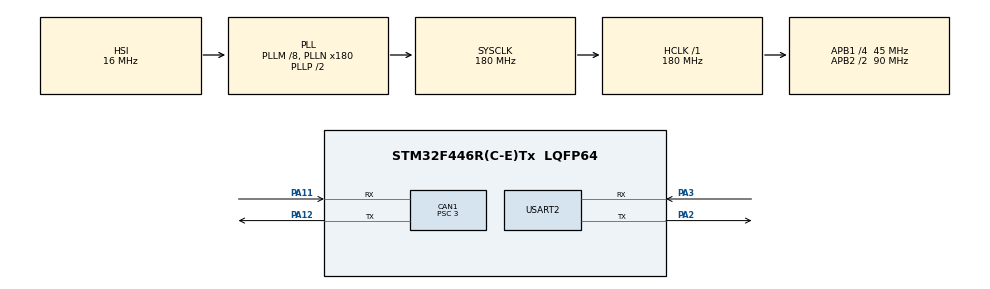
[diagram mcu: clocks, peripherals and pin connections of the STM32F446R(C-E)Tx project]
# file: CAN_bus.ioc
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CAN1.BS1=CAN_BS1_12TQ
CAN1.BS2=CAN_BS2_2TQ
CAN1.CalculateBaudRate=1000000
CAN1.CalculateTimeBit=1000
CAN1.CalculateTimeQuantum=66.66666666666666
CAN1.Mode=CAN_MODE_LOOPBACK
CAN1.Prescaler=3
Mcu.Family=STM32F4
Mcu.Name=STM32F446R(C-E)Tx
Mcu.Package=LQFP64
NVIC.CAN1_RX0_IRQn=true\:0\:0\:false\:false\:true\:true\:true\:true
NVIC.CAN1_RX1_IRQn=true\:0\:0\:false\:false\:true\:true\:true\:true
NVIC.CAN1_SCE_IRQn=true\:0\:0\:false\:false\:true\:true\:true\:true
NVIC.CAN1_TX_IRQn=true\:0\:0\:false\:false\:true\:true\:true\:true
NVIC.PriorityGroup=NVIC_PRIORITYGROUP_0
PA11.GPIO_PuPd=GPIO_PULLUP
PA11.Mode=CAN_Activate
PA11.Signal=CAN1_RX
PA12.Mode=CAN_Activate
PA12.Signal=CAN1_TX
PA13.Mode=Serial_Wire
PA13.Signal=SYS_JTMS-SWDIO
PA14.Mode=Serial_Wire
PA14.Signal=SYS_JTCK-SWCLK
PA2.Mode=Asynchronous
PA2.Signal=USART2_TX
PA3.Mode=Asynchronous
PA3.Signal=USART2_RX
PH0-OSC_IN.Mode=HSE-External-Oscillator
PH0-OSC_IN.Signal=RCC_OSC_IN
PH1-OSC_OUT.Mode=HSE-External-Oscillator
PH1-OSC_OUT.Signal=RCC_OSC_OUT
ProjectManager.HeapSize=0x200
ProjectManager.StackSize=0x400
ProjectManager.TargetToolchain=Makefile
RCC.AHBFreq_Value=180000000
RCC.APB1CLKDivider=RCC_HCLK_DIV4
RCC.APB1Freq_Value=45000000
RCC.APB1TimFreq_Value=90000000
RCC.APB2CLKDivider=RCC_HCLK_DIV2
RCC.APB2Freq_Value=90000000
RCC.APB2TimFreq_Value=180000000
RCC.CortexFreq_Value=180000000
RCC.FLatency-AdvancedSettings=FLASH_LATENCY_5
RCC.HCLKFreq_Value=180000000
RCC.HSE_VALUE=8000000
RCC.HSI_VALUE=16000000
RCC.LSE_VALUE=32768
RCC.PLLM=8
RCC.PLLN=180
RCC.SYSCLKFreq_VALUE=180000000
RCC.SYSCLKSource=RCC_SYSCLKSOURCE_PLLCLK
RCC.USBFreq_Value=180000000
RCC.VCOOutputFreq_Value=360000000
USART2.VirtualMode=VM_ASYNC
board=NUCLEO-F446RE

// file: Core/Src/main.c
/* USER CODE BEGIN Header */
/**
  ******************************************************************************
  * @file           : main.c
  * @brief          : Main program body
  ******************************************************************************
  * @attention
  *
  * Copyright (c) 2025 STMicroelectronics.
  * All rights reserved.
  *
  * This software is licensed under terms that can be found in the LICENSE file
  * in the root directory of this software component.
  * If no LICENSE file comes with this software, it is provided AS-IS.
  *
  ******************************************************************************
  */
/* USER CODE END Header */
#include "main.h"
#include "can.h"
#include "usart.h"
#include "gpio.h"

void SystemClock_Config(void);

int main(void)
{

  /* MCU Configuration--------------------------------------------------------*/

  /* Reset of all peripherals, Initializes the Flash interface and the Systick. */
  HAL_Init();

  /* Configure the system clock */
  SystemClock_Config();

  /* Initialize all configured peripherals */
  MX_GPIO_Init();
  MX_CAN1_Init();
  MX_USART2_UART_Init();

  /* Infinite loop */
  /* USER CODE BEGIN WHILE */
  uint32_t now = 0, next_tx_temp = 5000, next_tx_speed = 10000;
  while (1)
  {
    now = uwTick;
    /*if ((now - past) >= interval) {

    }*/

    if (now >= next_tx_temp) {
      uint16_t temperatura_motore = 85; // 85°C
      TxHeader.DLC = 2;
      TxHeader.IDE = CAN_ID_STD;
      TxHeader.RTR = CAN_RTR_DATA;
      TxHeader.StdId = 0x100; // ID temperatura motore

      TxData[0] = (temperatura_motore >> 8) & 0xFF;
      TxData[1] = temperatura_motore & 0xFF;

      if (CAN_send(&hcan1, TxData, &TxHeader) != HAL_OK) {
        Error_Handler();
      }

       next_tx_temp = now + 5000;

    }

    if (now >= next_tx_speed) {
      uint16_t velocita_veicolo = 123; // 123 km/h

      TxHeader.DLC = 2;
      TxHeader.IDE = CAN_ID_STD;
      TxHeader.RTR = CAN_RTR_DATA;
      TxHeader.StdId = 0x200; // ID velocità veicolo
      TxData[0] = (velocita_veicolo >> 8) & 0xFF;
      TxData[1] = velocita_veicolo & 0xFF;

      if (CAN_send(&hcan1, TxData, &TxHeader) != HAL_OK) {
        Error_Handler();
      }

      next_tx_speed = now + 10000;
    }
    /* USER CODE END WHILE */

  }
}

void SystemClock_Config(void)
{
  RCC_OscInitTypeDef RCC_OscInitStruct = {0};
  RCC_ClkInitTypeDef RCC_ClkInitStruct = {0};

  /** Configure the main internal regulator output voltage
  */
  __HAL_RCC_PWR_CLK_ENABLE();
  __HAL_PWR_VOLTAGESCALING_CONFIG(PWR_REGULATOR_VOLTAGE_SCALE1);

  /** Initializes the RCC Oscillators according to the specified parameters
  * in the RCC_OscInitTypeDef structure.
  */
  RCC_OscInitStruct.OscillatorType = RCC_OSCILLATORTYPE_HSI;
  RCC_OscInitStruct.HSIState = RCC_HSI_ON;
  RCC_OscInitStruct.HSICalibrationValue = RCC_HSICALIBRATION_DEFAULT;
  RCC_OscInitStruct.PLL.PLLState = RCC_PLL_ON;
  RCC_OscInitStruct.PLL.PLLSource = RCC_PLLSOURCE_HSI;
  RCC_OscInitStruct.PLL.PLLM = 8;
  RCC_OscInitStruct.PLL.PLLN = 180;
  RCC_OscInitStruct.PLL.PLLP = RCC_PLLP_DIV2;
  RCC_OscInitStruct.PLL.PLLQ = 2;
  RCC_OscInitStruct.PLL.PLLR = 2;
  if (HAL_RCC_OscConfig(&RCC_OscInitStruct) != HAL_OK)
  {
    Error_Handler();
  }

  /** Activate the Over-Drive mode
  */
  if (HAL_PWREx_EnableOverDrive() != HAL_OK)
  {
    Error_Handler();
  }

  /** Initializes the CPU, AHB and APB buses clocks
  */
  RCC_ClkInitStruct.ClockType = RCC_CLOCKTYPE_HCLK|RCC_CLOCKTYPE_SYSCLK
                              |RCC_CLOCKTYPE_PCLK1|RCC_CLOCKTYPE_PCLK2;
  RCC_ClkInitStruct.SYSCLKSource = RCC_SYSCLKSOURCE_PLLCLK;
  RCC_ClkInitStruct.AHBCLKDivider = RCC_SYSCLK_DIV1;
  RCC_ClkInitStruct.APB1CLKDivider = RCC_HCLK_DIV4;
  RCC_ClkInitStruct.APB2CLKDivider = RCC_HCLK_DIV2;

  if (HAL_RCC_ClockConfig(&RCC_ClkInitStruct, FLASH_LATENCY_5) != HAL_OK)
  {
    Error_Handler();
  }
}

void Error_Handler(void)
{
  __disable_irq();
  while (1)
  {
  }
}
